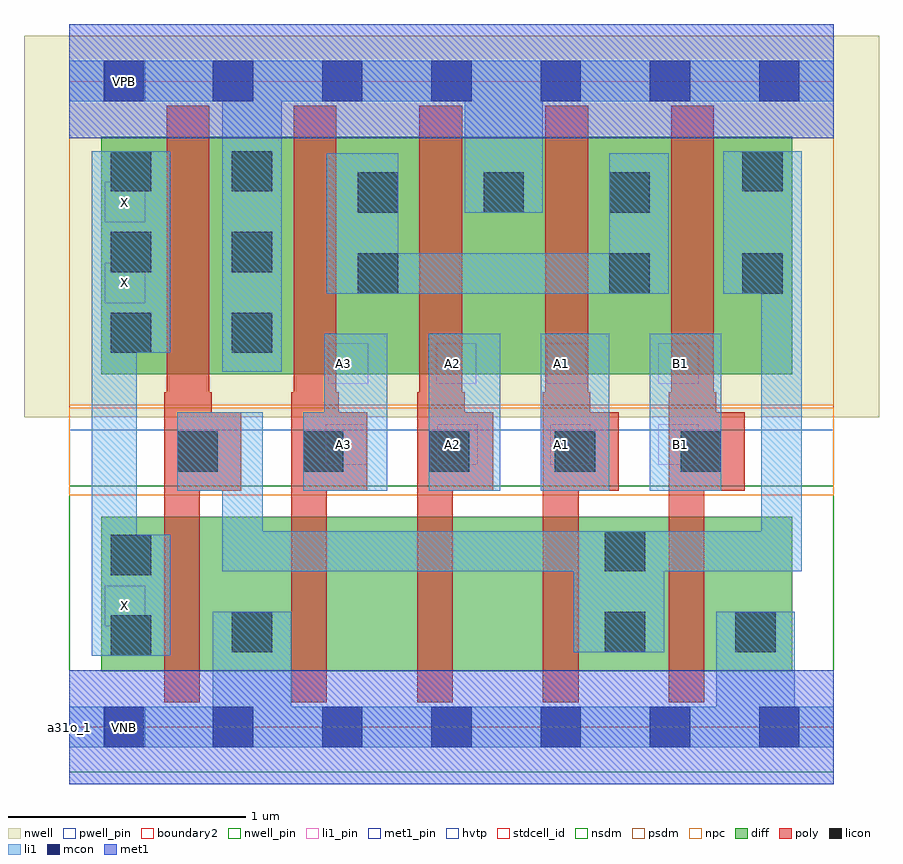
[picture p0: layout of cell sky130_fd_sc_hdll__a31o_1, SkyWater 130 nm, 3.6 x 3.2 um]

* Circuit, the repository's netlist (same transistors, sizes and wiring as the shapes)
* Copyright 2020 The SkyWater PDK Authors
*
* Licensed under the Apache License, Version 2.0 (the "License");
* you may not use this file except in compliance with the License.
* You may obtain a copy of the License at
*
*     https://www.apache.org/licenses/LICENSE-2.0
*
* Unless required by applicable law or agreed to in writing, software
* distributed under the License is distributed on an "AS IS" BASIS,
* WITHOUT WARRANTIES OR CONDITIONS OF ANY KIND, either express or implied.
* See the License for the specific language governing permissions and
* limitations under the License.
*
* SPDX-License-Identifier: Apache-2.0

.SUBCKT sky130_fd_sc_hdll__a31o_1 A1 A2 A3 B1 VGND VNB VPB VPWR X
*.PININFO A1:I A2:I A3:I B1:I VGND:I VNB:I VPB:I VPWR:I X:O
MMPA0 pndA A1 VPWR VPB sky130_fd_pr__pfet_01v8_hvt m=1 w=1.0U l=0.18U mult=1 sa=0.265
+ sb=0.265 sd=0.28 area=0.063 perim=1.14
MMPA1 pndA A2 VPWR VPB sky130_fd_pr__pfet_01v8_hvt m=1 w=1.0U l=0.18U mult=1 sa=0.265
+ sb=0.265 sd=0.28 area=0.063 perim=1.14
MMPA2 pndA A3 VPWR VPB sky130_fd_pr__pfet_01v8_hvt m=1 w=1.0U l=0.18U mult=1 sa=0.265
+ sb=0.265 sd=0.28 area=0.063 perim=1.14
MMPB0 y B1 pndA VPB sky130_fd_pr__pfet_01v8_hvt m=1 w=1.0U l=0.18U mult=1 sa=0.265
+ sb=0.265 sd=0.28 area=0.063 perim=1.14
MMIPX X y VPWR VPB sky130_fd_pr__pfet_01v8_hvt m=1 w=1.0U l=0.18U mult=1 sa=0.265
+ sb=0.265 sd=0.28 area=0.063 perim=1.14
MMNA0 y A1 sndA1 VNB sky130_fd_pr__nfet_01v8 m=1 w=0.65U l=0.15U mult=1 sa=0.265
+ sb=0.265 sd=0.28 area=0.063 perim=1.14
MMNA1 sndA1 A2 sndA2 VNB sky130_fd_pr__nfet_01v8 m=1 w=0.65U l=0.15U mult=1 sa=0.265
+ sb=0.265 sd=0.28 area=0.063 perim=1.14
MMNA2 sndA2 A3 VGND VNB sky130_fd_pr__nfet_01v8 m=1 w=0.65U l=0.15U mult=1 sa=0.265
+ sb=0.265 sd=0.28 area=0.063 perim=1.14
MMNB0 y B1 VGND VNB sky130_fd_pr__nfet_01v8 m=1 w=0.65U l=0.15U mult=1 sa=0.265
+ sb=0.265 sd=0.28 area=0.063 perim=1.14
MMINX X y VGND VNB sky130_fd_pr__nfet_01v8 m=1 w=0.65U l=0.15U mult=1 sa=0.265
+ sb=0.265 sd=0.28 area=0.063 perim=1.14
.ENDS sky130_fd_sc_hdll__a31o_1

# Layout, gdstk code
import gdstk
lib = gdstk.Library(unit=1e-6, precision=1e-09)
def R(c, l, rs):  # rectangles x0, y0, x1, y1
    for r in rs: c.add(gdstk.rectangle(r[:2], r[2:], *l))
def A(c, l, x, y, w, h, nx, ny, dx, dy):  # array of equal rectangles
    R(c, l, [(x+i*dx, y+j*dy, x+i*dx+w, y+j*dy+h) for i in range(nx) for j in range(ny)])
def P(c, l, *ps):  # polygons
    for p in ps: c.add(gdstk.Polygon(p, *l))
nwell_pin = (64, 16)
nwell = (64, 20)
diff = (65, 20)
poly = (66, 20)
licon = (66, 44)
li1_pin = (67, 16)
li1 = (67, 20)
mcon = (67, 44)
met1_pin = (68, 16)
met1 = (68, 20)
hvtp = (78, 44)
stdcell_id = (81, 4)
nsdm = (93, 44)
psdm = (94, 20)
npc = (95, 20)
pwell_pin = (122, 16)
boundary2 = (236, 0)

sky130_fd_sc_hdll__a31o_ = lib.new_cell('sky130_fd_sc_hdll__a31o_1')
R(sky130_fd_sc_hdll__a31o_, nwell_pin, [(0.15,2.635,0.32,2.805)])
R(sky130_fd_sc_hdll__a31o_, nwell, [(-0.19,1.305,3.41,2.91)])
R(sky130_fd_sc_hdll__a31o_, diff, [(0.135,0.235,3.045,0.885), (0.135,1.485,3.045,2.485)])
P(sky130_fd_sc_hdll__a31o_, poly, [(0.725,1.325),(0.6,1.325),(0.6,1.41),(0.59,1.41),(0.59,2.615),(0.41,2.615),(0.41,1.41),(0.4,1.41),(0.4,0.105),(0.55,0.105),(0.55,0.995),(0.725,0.995)],
  [(1.255,1.325),(1.135,1.325),(1.135,1.41),(1.125,1.41),(1.125,2.615),(0.945,2.615),(0.945,1.41),(0.935,1.41),(0.935,0.105),(1.085,0.105),(1.085,0.995),(1.255,0.995)],
  [(1.785,1.325),(1.665,1.325),(1.665,1.41),(1.655,1.41),(1.655,2.615),(1.475,2.615),(1.475,1.41),(1.465,1.41),(1.465,0.105),(1.615,0.105),(1.615,0.995),(1.785,0.995)],
  [(2.315,1.325),(2.195,1.325),(2.195,1.41),(2.185,1.41),(2.185,2.615),(2.005,2.615),(2.005,1.41),(1.995,1.41),(1.995,0.105),(2.145,0.105),(2.145,0.995),(2.315,0.995)],
  [(2.845,1.325),(2.725,1.325),(2.725,1.41),(2.715,1.41),(2.715,2.615),(2.535,2.615),(2.535,1.41),(2.525,1.41),(2.525,0.105),(2.675,0.105),(2.675,0.995),(2.845,0.995)])
A(sky130_fd_sc_hdll__a31o_, licon, 0.455, 1.075, 0.17, 0.17, 5, 1, 0.53, 0)
A(sky130_fd_sc_hdll__a31o_, licon, 0.175, 1.575, 0.17, 0.17, 1, 3, 0, 0.34)
A(sky130_fd_sc_hdll__a31o_, licon, 0.685, 1.575, 0.17, 0.17, 1, 3, 0, 0.34)
A(sky130_fd_sc_hdll__a31o_, licon, 1.215, 2.165, 0.17, 0.17, 3, 1, 0.53, 0)
R(sky130_fd_sc_hdll__a31o_, licon, [(0.175,0.3,0.345,0.47), (0.685,0.315,0.855,0.485), (2.255,0.315,2.425,0.485), (2.805,0.315,2.975,0.485), (0.175,0.64,0.345,0.81), (2.255,0.655,2.425,0.825), (1.215,1.825,1.385,1.995), (2.275,1.825,2.445,1.995), (2.835,1.825,3.005,1.995), (2.835,2.255,3.005,2.425)])
R(sky130_fd_sc_hdll__a31o_, li1_pin, [(0.15,0.425,0.32,0.595), (1.08,1.105,1.25,1.275), (1.55,1.105,1.72,1.275), (2.025,1.105,2.195,1.275), (2.48,1.105,2.65,1.275), (1.09,1.445,1.26,1.615), (1.545,1.445,1.715,1.615), (2.01,1.445,2.18,1.615), (2.48,1.445,2.65,1.615), (0.15,1.785,0.32,1.955), (0.15,2.125,0.32,2.295)])
R(sky130_fd_sc_hdll__a31o_, li1, [(1.515,0.995,1.815,1.655), (1.985,0.995,2.275,1.655), (2.445,0.995,2.745,1.655)])
P(sky130_fd_sc_hdll__a31o_, li1, [(1.34,1.655),(1.075,1.655),(1.075,1.325),(0.985,1.325),(0.985,0.995),(1.34,0.995)],
  [(3.22,2.805),(0,2.805),(0,2.635),(0.645,2.635),(0.645,1.495),(0.895,1.495),(0.895,2.635),(1.665,2.635),(1.665,2.165),(1.995,2.165),(1.995,2.635),(3.22,2.635)],
  [(3.22,0.085),(3.055,0.085),(3.055,0.485),(2.725,0.485),(2.725,0.085),(0.935,0.085),(0.935,0.485),(0.605,0.485),(0.605,0.085),(0,0.085),(0,-0.085),(3.22,-0.085)],
  [(3.085,2.425),(2.755,2.425),(2.755,1.825),(2.915,1.825),(2.915,0.825),(0.815,0.825),(0.815,1.325),(0.455,1.325),(0.455,0.995),(0.645,0.995),(0.645,0.655),(2.125,0.655),(2.125,0.315),(2.505,0.315),(2.505,0.655),(3.085,0.655)],
  [(2.525,2.415),(2.275,2.415),(2.275,1.995),(1.385,1.995),(1.385,2.415),(1.085,2.415),(1.085,1.825),(2.525,1.825)],
  [(0.425,0.81),(0.285,0.81),(0.285,1.575),(0.425,1.575),(0.425,2.425),(0.095,2.425),(0.095,0.3),(0.425,0.3)])
A(sky130_fd_sc_hdll__a31o_, mcon, 0.145, -0.085, 0.17, 0.17, 7, 2, 0.46, 2.72)
R(sky130_fd_sc_hdll__a31o_, met1_pin, [(0.15,-0.085,0.32,0.085), (0.15,2.635,0.32,2.805)])
R(sky130_fd_sc_hdll__a31o_, met1, [(0,-0.24,3.22,0.24), (0,2.48,3.22,2.96)])
R(sky130_fd_sc_hdll__a31o_, hvtp, [(0,1.25,3.22,2.72)])
R(sky130_fd_sc_hdll__a31o_, stdcell_id, [(0,0,3.22,2.72)])
R(sky130_fd_sc_hdll__a31o_, nsdm, [(0,-0.19,3.22,1.015)])
R(sky130_fd_sc_hdll__a31o_, psdm, [(0,1.355,3.22,2.91)])
R(sky130_fd_sc_hdll__a31o_, npc, [(0,0.975,3.22,1.345)])
R(sky130_fd_sc_hdll__a31o_, pwell_pin, [(0.15,-0.085,0.32,0.085)])
R(sky130_fd_sc_hdll__a31o_, boundary2, [(0,0,3.22,2.72)])
sky130_fd_sc_hdll__a31o_.add(gdstk.Label('A2', (1.615,1.53), layer=67, texttype=5))
sky130_fd_sc_hdll__a31o_.add(gdstk.Label('B1', (2.575,1.53), layer=67, texttype=5))
sky130_fd_sc_hdll__a31o_.add(gdstk.Label('A1', (2.075,1.19), layer=67, texttype=5))
sky130_fd_sc_hdll__a31o_.add(gdstk.Label('A3', (1.155,1.53), layer=67, texttype=5))
sky130_fd_sc_hdll__a31o_.add(gdstk.Label('A2', (1.615,1.19), layer=67, texttype=5))
sky130_fd_sc_hdll__a31o_.add(gdstk.Label('A3', (1.155,1.19), layer=67, texttype=5))
sky130_fd_sc_hdll__a31o_.add(gdstk.Label('X', (0.235,2.21), layer=67, texttype=5))
sky130_fd_sc_hdll__a31o_.add(gdstk.Label('A1', (2.075,1.53), layer=67, texttype=5))
sky130_fd_sc_hdll__a31o_.add(gdstk.Label('X', (0.235,1.87), layer=67, texttype=5))
sky130_fd_sc_hdll__a31o_.add(gdstk.Label('X', (0.235,0.51), layer=67, texttype=5))
sky130_fd_sc_hdll__a31o_.add(gdstk.Label('B1', (2.575,1.19), layer=67, texttype=5))
sky130_fd_sc_hdll__a31o_.add(gdstk.Label('VPB', (0.235,2.72), layer=64, texttype=5))
sky130_fd_sc_hdll__a31o_.add(gdstk.Label('VNB', (0.235,0), layer=64, texttype=59))
sky130_fd_sc_hdll__a31o_.add(gdstk.Label('VGND', (0.23,0), layer=68, texttype=5))
sky130_fd_sc_hdll__a31o_.add(gdstk.Label('VPWR', (0.23,2.72), layer=68, texttype=5))
sky130_fd_sc_hdll__a31o_.add(gdstk.Label('a31o_1', (0,0), layer=83, texttype=44))

lib.write_gds('sky130_fd_sc_hdll__a31o_1.gds')
